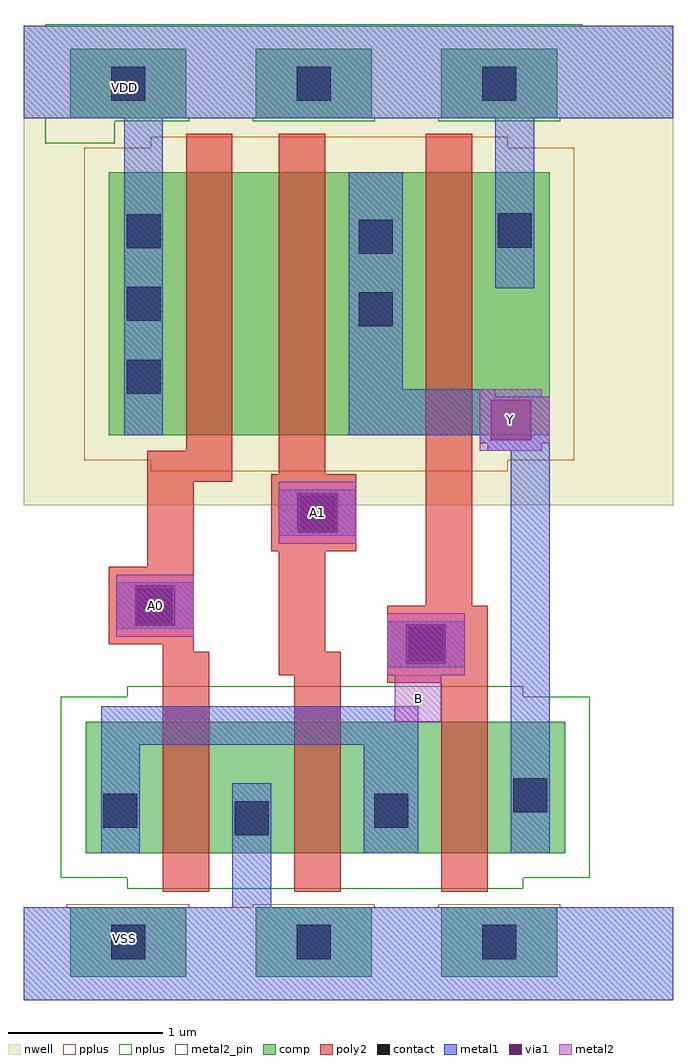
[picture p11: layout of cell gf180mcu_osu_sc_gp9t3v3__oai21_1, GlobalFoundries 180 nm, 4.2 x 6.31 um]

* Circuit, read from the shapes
.subckt gf180mcu_osu_sc_gp9t3v3__oai21_1 A0 A1 B VDD VSS Y
XM1 VSS A0 n1 VSS nfet_03v3 w=0.85u l=0.3u
XM2 n1 A1 VSS VSS nfet_03v3 w=0.85u l=0.3u
XM3 Y B n1 VSS nfet_03v3 w=0.85u l=0.3u
XM4 n2 A0 VDD VDD pfet_03v3 w=1.7u l=0.3u
XM5 Y A1 n2 VDD pfet_03v3 w=1.7u l=0.3u
XM6 VDD B Y VDD pfet_03v3 w=1.7u l=0.3u
.ends

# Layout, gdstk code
import gdstk
lib = gdstk.Library(unit=1e-6, precision=1e-09)
def R(c, l, rs):  # rectangles x0, y0, x1, y1
    for r in rs: c.add(gdstk.rectangle(r[:2], r[2:], *l))
def A(c, l, x, y, w, h, nx, ny, dx, dy):  # array of equal rectangles
    R(c, l, [(x+i*dx, y+j*dy, x+i*dx+w, y+j*dy+h) for i in range(nx) for j in range(ny)])
nwell = (21, 0)
comp = (22, 0)
poly2 = (30, 0)
pplus = (31, 0)
nplus = (32, 0)
contact = (33, 0)
metal1 = (34, 0)
via1 = (35, 0)
metal2 = (36, 0)
metal2_pin = (36, 10)

gf180mcu_osu_sc_gp9t3v3_ = lib.new_cell('gf180mcu_osu_sc_gp9t3v3__oai21_1')
R(gf180mcu_osu_sc_gp9t3v3_, nwell, [(0,3.2,4.2,6.3)])
A(gf180mcu_osu_sc_gp9t3v3_, comp, 0.3, 0.15, 0.75, 0.45, 3, 2, 1.2, 5.55)
R(gf180mcu_osu_sc_gp9t3v3_, comp, [(0.4,0.95,3.5,1.8), (0.55,3.65,3.4,5.35)])
R(gf180mcu_osu_sc_gp9t3v3_, poly2, [(0.9,0.7,1.2,2.25), (1.75,0.7,2.05,2.1), (2.7,0.7,3,2.05), (2.35,2.05,3,2.55), (1.65,2.1,2.05,2.25), (0.9,2.25,1.1,2.3), (1.65,2.25,1.95,2.9), (0.55,2.3,1.1,2.8), (2.6,2.55,2.9,5.6), (0.8,2.8,1.1,3.35), (1.6,2.9,2.15,3.4), (0.8,3.35,1.35,3.55), (1.65,3.4,1.95,5.6), (1.05,3.55,1.35,5.6)])
A(gf180mcu_osu_sc_gp9t3v3_, pplus, 0.28, 0.13, 0.79, 0.49, 3, 1, 1.2, 0)
R(gf180mcu_osu_sc_gp9t3v3_, pplus, [(0,0,4.2,0.6), (0.82,3.42,3.13,3.49), (0.39,3.49,3.56,5.51), (0.82,5.51,3.13,5.58)])
R(gf180mcu_osu_sc_gp9t3v3_, nplus, [(0.67,0.72,3.23,0.79), (0.24,0.79,3.66,1.96), (0.67,1.96,3.23,2.03), (0.14,5.54,0.59,5.68), (0.14,5.68,1.07,5.7), (1.48,5.68,2.27,5.7), (2.68,5.68,3.47,5.7), (0,5.7,4.2,6.3), (0,5.7,4.2,6.3), (0.14,6.3,3.61,6.31)])
A(gf180mcu_osu_sc_gp9t3v3_, contact, 0.565, 0.265, 0.22, 0.22, 3, 2, 1.2, 5.55)
A(gf180mcu_osu_sc_gp9t3v3_, contact, 0.665, 3.92, 0.22, 0.22, 1, 3, 0, 0.47)
R(gf180mcu_osu_sc_gp9t3v3_, contact, [(1.365,1.065,1.585,1.285), (0.515,1.115,0.735,1.335), (2.265,1.115,2.485,1.335), (3.165,1.215,3.385,1.435), (2.49,2.19,2.71,2.41), (0.74,2.44,0.96,2.66), (1.79,3.04,2.01,3.26), (2.165,4.355,2.385,4.575), (2.165,4.825,2.385,5.045), (3.065,4.865,3.285,5.085)])
R(gf180mcu_osu_sc_gp9t3v3_, metal1, [(0,0,4.2,0.6), (1.35,0.6,1.6,1.4), (0.5,0.95,0.75,1.65), (2.2,0.95,2.55,1.65), (3.15,0.95,3.4,3.55), (0.5,1.65,2.55,1.9), (2.35,2.15,2.85,2.45), (0.6,2.4,1.1,2.7), (1.65,3,2.15,3.3), (3,3.55,3.4,3.6), (2.95,3.6,3.4,3.65), (0.65,3.65,0.9,5.7), (2.1,3.65,3.4,3.9), (2.1,3.9,3.05,3.95), (2.1,3.95,2.45,5.35), (3.05,4.6,3.3,5.7), (0,5.7,4.2,6.3)])
R(gf180mcu_osu_sc_gp9t3v3_, via1, [(2.47,2.17,2.73,2.43), (0.72,2.42,0.98,2.68), (1.77,3.02,2.03,3.28), (3.02,3.62,3.28,3.88)])
R(gf180mcu_osu_sc_gp9t3v3_, metal2, [(2.4,1.8,2.7,2.1), (2.35,2.1,2.85,2.5), (0.6,2.35,1.1,2.75), (1.65,2.95,2.15,3.35), (2.95,3.55,3.35,3.6), (2.95,3.6,3.4,3.9), (2.95,3.9,3.35,3.95)])
R(gf180mcu_osu_sc_gp9t3v3_, metal2_pin, [(2.4,1.8,2.7,2.1)])
gf180mcu_osu_sc_gp9t3v3_.add(gdstk.Label('VDD', (0.65,5.9), layer=22, texttype=0))
gf180mcu_osu_sc_gp9t3v3_.add(gdstk.Label('VSS', (0.65,0.4), layer=22, texttype=0))
gf180mcu_osu_sc_gp9t3v3_.add(gdstk.Label('A0', (0.85,2.55), layer=36, texttype=10))
gf180mcu_osu_sc_gp9t3v3_.add(gdstk.Label('A1', (1.9,3.15), layer=36, texttype=10))
gf180mcu_osu_sc_gp9t3v3_.add(gdstk.Label('B', (2.55,1.95), layer=36, texttype=10))
gf180mcu_osu_sc_gp9t3v3_.add(gdstk.Label('Y', (3.15,3.75), layer=36, texttype=10))

lib.write_gds('gf180mcu_osu_sc_gp9t3v3__oai21_1.gds')
